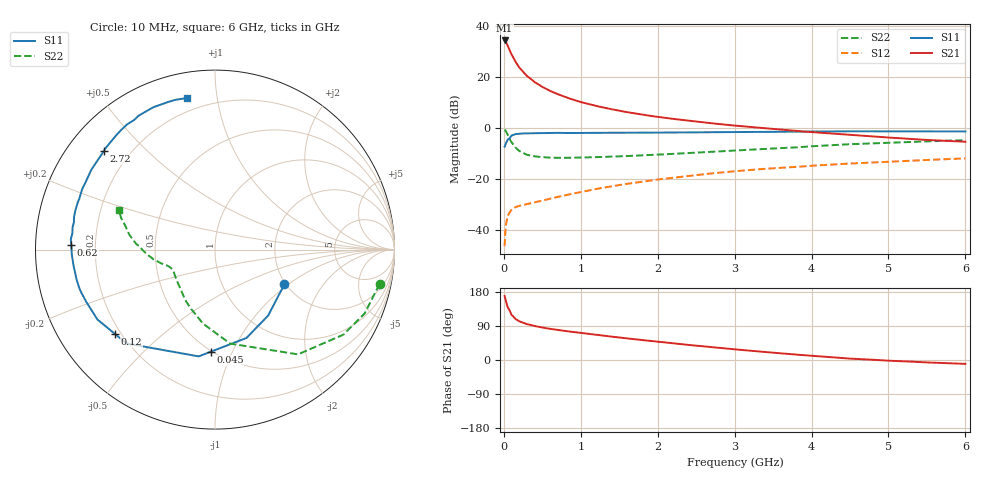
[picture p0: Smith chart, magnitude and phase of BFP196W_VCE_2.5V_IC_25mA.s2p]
! Infineon Technologies  Discrete & RF Semiconductors
! BFP196W
! VCE = 2.5 V,  IC =  25mA
! Common Emitter S-Parameters:  Jan 2016
# GHz  S  MA  R  50
!  f  S11  S21  S12  S22
! GHz  MAG  ANG  MAG  ANG  MAG  ANG  MAG  ANG
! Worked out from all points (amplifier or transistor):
!   210 points, 10 MHz to 6 GHz, reference 50 ohm
!   highest |S21| = 34.3 dB at 10 MHz (marker M1)
!   |S21| within 3 dB of that: start of sweep to 65.24 MHz
!   unconditionally stable (mu >= 1): 788.3 MHz to 3.283 GHz
!   at 185 MHz: K = 0.39, MSG = 27.5 dB, |S12| = -30.6 dB
!   at 1.52 GHz: K = 1.14, MAG = 12.2 dB, |S12| = -22.2 dB
!   at 6 GHz: K = 0.95, MSG = 3.3 dB, |S12| = -11.9 dB
!   S11 on the Smith chart (normalised r, x): 10 MHz: 1.97, -0.94; 45 MHz: 0.49, -0.83; 120 MHz: 0.18, -0.35; 620 MHz: 0.11, +0.02; 2.72 GHz: 0.11, +0.38; 6 GHz: 0.13, +0.83
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0.01  0.4324 -26.6  51.67 169.0  0.0049 78.3  0.9368 -11.8
0.02  0.4719 -51.1  50.78 161.1  0.0095 73.3  0.9066 -23.1
0.03  0.5227 -70.4  47.96 152.9  0.0133 66.0  0.8581 -33.5
0.045  0.5698 -92.5  42.57 142.8  0.0177 56.4  0.7655 -46.6
0.05  0.6018 -98.7  41.12 138.9  0.0192 54.2  0.7449 -51.6
0.1  0.7187 -133.3  27.53 118.9  0.0256 38.9  0.5309 -80.8
0.12  0.7291 -139.9  24.39 115.4  0.0267 36.9  0.48 -87.1
0.15  0.7622 -149.3  19.92 108.1  0.0284 34.2  0.4178 -99.2
0.2  0.7743 -158.0  15.34 102.1  0.0301 33.5  0.3572 -111.7
0.26  0.7862 -164.4  12.1 97.3  0.0315 33.5  0.3204 -122.0
0.3  0.7889 -167.8  10.44 94.7  0.0325 34.6  0.3004 -127.8
0.4  0.7933 -173.7  7.922 89.5  0.0354 37.6  0.2801 -137.3
0.5  0.7982 -178.0  6.387 85.5  0.038 40.5  0.2699 -143.9
0.62  0.801 178.1  5.187 81.7  0.0423 44.1  0.2637 -149.0
1.02  0.8017 168.6  3.17 70.9  0.0567 51.4  0.2655 -157.1
1.4  0.8089 161.1  2.335 61.6  0.0724 54.1  0.2766 -160.6
2.02  0.8162 150.0  1.64 47.9  0.0994 54.5  0.3027 -164.8
2.72  0.8281 138.4  1.233 33.6  0.1305 51.4  0.3438 -170.7
3.1  0.8384 132.3  1.085 26.4  0.1471 48.7  0.3702 -174.7
4.1  0.8593 118.4  0.813 9.8  0.1871 41.4  0.4484 174.7
5.1  0.8629 107.7  0.639 -2.6  0.2232 33.6  0.5236 164.4
6  0.8582 100.3  0.54 -10.2  0.255 27.3  0.5794 157.6
